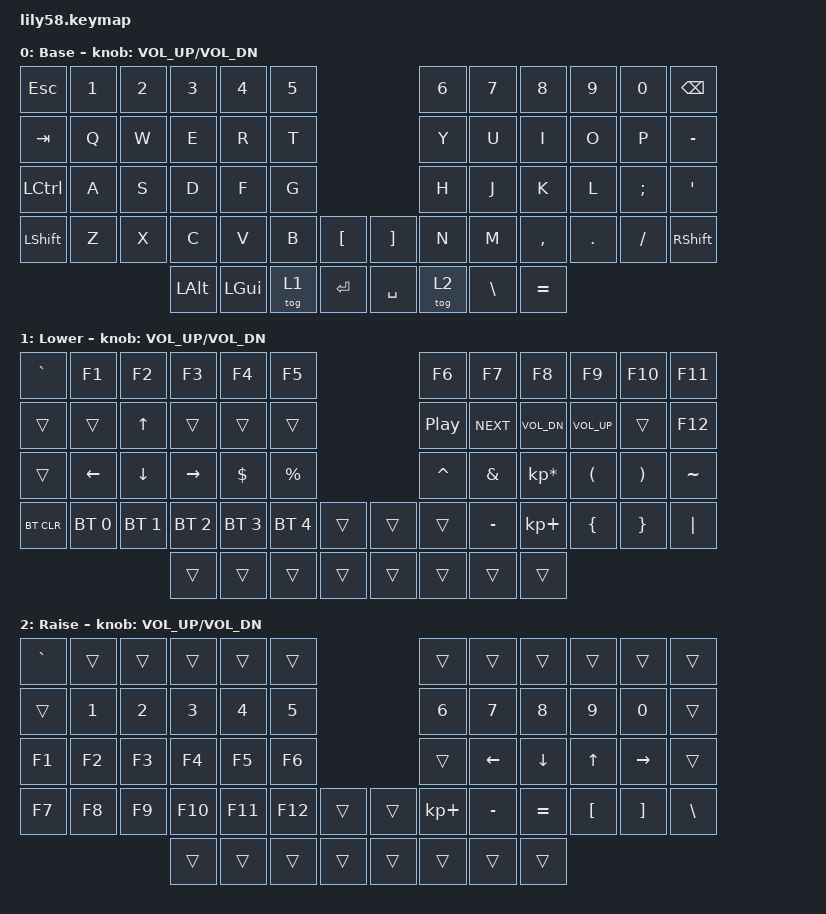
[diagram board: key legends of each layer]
/*
 * Copyright (c) 2020 The ZMK Contributors
 *
 * SPDX-License-Identifier: MIT
 */

#include <behaviors.dtsi>
#include <dt-bindings/zmk/bt.h>
#include <dt-bindings/zmk/keys.h>

/ {
    keymap {
        compatible = "zmk,keymap";

        default_layer {
            // ------------------------------------------------------------------------------------------------------------
            // |  ESC  |  1  |  2  |  3   |  4   |  5   |                   |  6   |  7    |  8    |  9   |   0   |   `   |
            // |  TAB  |  Q  |  W  |  E   |  R   |  T   |                   |  Y   |  U    |  I    |  O   |   P   |   -   |
            // |  CTRL |  A  |  S  |  D   |  F   |  G   |                   |  H   |  J    |  K    |  L   |   ;   |   '   |
            // | SHIFT |  Z  |  X  |  C   |  V   |  B   |   "["  |  |  "]"  |  N   |  M    |  ,    |  .   |   /   | SHIFT |
            //                     | ALT  | GUI  | LOWER|  SPACE |  | ENTER | RAISE| BSPC  | GUI   |

            display-name = "Base";
            bindings = <
&kp ESC    &kp N1  &kp N2  &kp N3    &kp N4    &kp N5                           &kp N6  &kp N7         &kp N8     &kp N9   &kp N0    &kp BACKSPACE
&kp TAB    &kp Q   &kp W   &kp E     &kp R     &kp T                            &kp Y   &kp U          &kp I      &kp O    &kp P     &kp MINUS
&kp LCTRL  &kp A   &kp S   &kp D     &kp F     &kp G                            &kp H   &kp J          &kp K      &kp L    &kp SEMI  &kp SQT
&kp LSHFT  &kp Z   &kp X   &kp C     &kp V     &kp B   &kp LBKT      &kp RBKT   &kp N   &kp M          &kp COMMA  &kp DOT  &kp FSLH  &kp RSHFT
                           &kp LALT  &kp LGUI  &tog 1  &kp RETURN    &kp SPACE  &tog 2  &kp BACKSLASH  &kp EQUAL
            >;

            sensor-bindings = <&inc_dec_kp C_VOL_UP C_VOL_DN>;
        };

        lower_layer {
            // ------------------------------------------------------------------------------------------------------------
            // | BTCLR | BT1 | BT2 |  BT3 |  BT4 |  BT5 |                   |      |       |       |      |       |       |
            // |  F1   |  F2 |  F3 |  F4  |  F5  |  F6  |                   |  F7  |  F8   |  F9   |  F10 |  F11  |  F12  |
            // |   `   |  !  |  @  |  #   |  $   |  %   |                   |  ^   |  &    |  *    |  (   |   )   |   ~   |
            // |       |     |     |      |      |      |        |  |       |      |  _    |  +    |  {   |   }   |  "|"  |
            //                     |      |      |      |        |  |       |      |       |       |

            display-name = "Lower";
            bindings = <
&kp GRAVE   &kp F1        &kp F2          &kp F3        &kp F4        &kp F5                          &kp F6            &kp F7      &kp F8           &kp F9        &kp F10   &kp F11
&trans      &trans        &kp UP_ARROW    &trans        &trans        &trans                          &kp C_PLAY_PAUSE  &kp C_NEXT  &kp C_VOL_DN     &kp C_VOL_UP  &trans    &kp F12
&trans      &kp LEFT      &kp DOWN_ARROW  &kp RIGHT     &kp DOLLAR    &kp PRCNT                       &kp CARET         &kp AMPS    &kp KP_MULTIPLY  &kp LPAR      &kp RPAR  &kp TILDE
&bt BT_CLR  &bt BT_SEL 0  &bt BT_SEL 1    &bt BT_SEL 2  &bt BT_SEL 3  &bt BT_SEL 4  &trans    &trans  &trans            &kp MINUS   &kp KP_PLUS      &kp LBRC      &kp RBRC  &kp PIPE
                                          &trans        &trans        &trans        &trans    &trans  &trans            &trans      &trans
            >;

            sensor-bindings = <&inc_dec_kp C_VOL_UP C_VOL_DN>;
        };

        raise_layer {
            // ------------------------------------------------------------------------------------------------------------
            // |       |     |     |      |      |      |                   |      |       |       |      |       |       |
            // |   `   |  1  |  2  |  3   |  4   |  5   |                   |  6   |   7   |   8   |  9   |   0   |       |
            // |   F1  |  F2 |  F3 |  F4  |  F5  |  F6  |                   |      |   <-  |   v   |  ^   |  ->   |       |
            // |   F7  |  F8 |  F9 |  F10 |  F11 |  F12 |        |  |       |  +   |   -   |   =   |  [   |   ]   |   \   |
            //                     |      |      |      |        |  |       |      |       |       |

            display-name = "Raise";
            bindings = <
&kp GRAVE  &trans  &trans  &trans   &trans   &trans                     &trans       &trans     &trans     &trans    &trans     &trans
&trans     &kp N1  &kp N2  &kp N3   &kp N4   &kp N5                     &kp N6       &kp N7     &kp N8     &kp N9    &kp N0     &trans
&kp F1     &kp F2  &kp F3  &kp F4   &kp F5   &kp F6                     &trans       &kp LEFT   &kp DOWN   &kp UP    &kp RIGHT  &trans
&kp F7     &kp F8  &kp F9  &kp F10  &kp F11  &kp F12  &trans    &trans  &kp KP_PLUS  &kp MINUS  &kp EQUAL  &kp LBKT  &kp RBKT   &kp BSLH
                           &trans   &trans   &trans   &trans    &trans  &trans       &trans     &trans
            >;

            sensor-bindings = <&inc_dec_kp C_VOL_UP C_VOL_DN>;
        };
    };
};
